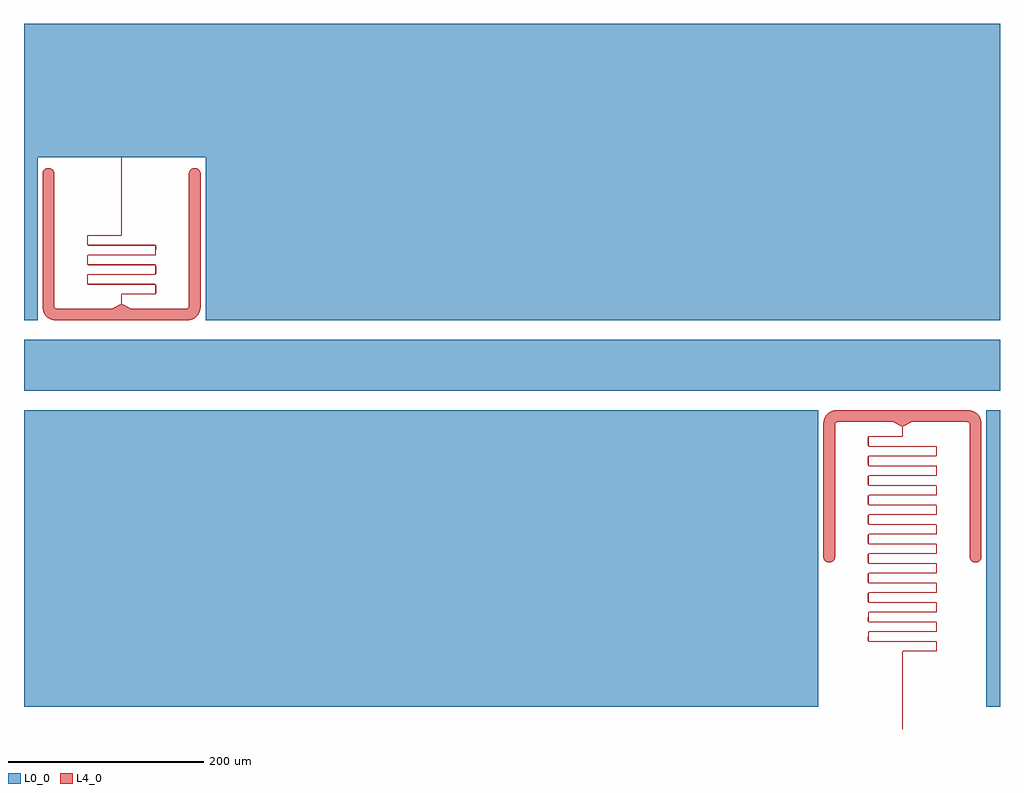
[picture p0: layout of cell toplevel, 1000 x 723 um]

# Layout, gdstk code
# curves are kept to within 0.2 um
import gdstk
lib = gdstk.Library(unit=1e-6, precision=1e-09)
def R(c, l, rs):  # rectangles x0, y0, x1, y1
    for r in rs: c.add(gdstk.rectangle(r[:2], r[2:], *l))
def P(c, l, *ps):  # polygons
    for p in ps: c.add(gdstk.Polygon(p, *l))
L0_0 = (0, 0)
L4_0 = (4, 0)

toplevel = lib.new_cell('toplevel')
R(toplevel, L0_0, [(-500,-350,314,-46), (486,-350,500,-46), (-500,-26,500,26)])
P(toplevel, L0_0, [(500,350),(-500,350),(-500,46),(-486,46),(-486,213),(-314,213),(-314,46),(500,46)])
P(toplevel, L4_0, [(-399.698,72.067),(-399.354,72.659),(-365.224,72.871),(-364.701,73.992),(-364.703,82.106),(-365.082,83.029),(-366.052,83.3),(-434.227,83.315),(-434.698,83.928),(-434.566,92.536),(-365.668,92.724),(-364.981,93.07),(-364.707,93.822),(-364.702,102.071),(-364.976,102.924),(-366.041,103.3),(-434.01,103.301),(-434.57,103.468),(-434.7,104.122),(-434.696,112.109),(-434.227,112.685),(-366.008,112.7),(-365.205,112.883),(-364.776,113.44),(-364.711,122.226),(-364.997,122.948),(-365.674,123.277),(-433.95,123.3),(-434.648,123.612),(-434.698,132.063),(-434.35,132.66),(-400.963,132.701),(-400.224,132.871),(-399.8,133.375),(-399.7,213),(-400.3,213),(-400.359,133.592),(-401.015,133.3),(-434.527,133.234),(-435.071,132.864),(-435.293,132.178),(-435.215,123.414),(-434.782,122.875),(-433.992,122.7),(-365.769,122.685),(-365.303,122.095),(-365.347,113.625),(-366.05,113.3),(-434.307,113.28),(-434.992,112.959),(-435.286,112.257),(-435.241,103.5),(-434.612,102.795),(-434.042,102.701),(-366.07,102.7),(-365.432,102.534),(-365.301,102.005),(-365.419,93.481),(-434.579,93.217),(-435.014,92.936),(-435.298,92.071),(-435.293,83.828),(-435.019,83.07),(-434.332,82.724),(-366.07,82.7),(-365.466,82.568),(-365.301,82.02),(-365.301,73.976),(-365.653,73.339),(-399.769,73.132),(-400.295,72.136),(-400.3,63),(-410,58),(-465.094,58.007),(-467.534,58.243),(-468.557,58.869),(-469,62.709),(-469.023,196.523),(-469.362,198.052),(-470.085,199.441),(-471.143,200.596),(-472.464,201.438),(-473.958,201.909),(-475.523,201.977),(-478.224,201.06),(-480.196,199),(-480.796,197.553),(-481,196),(-480.896,59.675),(-480.412,56.61),(-479.446,53.827),(-478.085,51.518),(-476.273,49.55),(-474.171,48.066),(-471.519,46.908),(-468.546,46.238),(-465.128,46.006),(-334.26,46.019),(-330.778,46.344),(-327.824,47.137),(-325.087,48.519),(-322.899,50.343),(-321.21,52.581),(-320.018,55.153),(-319.27,58.231),(-319.009,61.692),(-319,196),(-319.204,197.553),(-319.94,199.224),(-321.347,200.76),(-322.948,201.638),(-324.738,201.994),(-326.553,201.796),(-328.224,201.06),(-329.596,199.857),(-330.543,198.296),(-330.977,196.523),(-331,62.659),(-331.128,60.074),(-331.544,58.683),(-332.658,58.2),(-335.042,58.005),(-390,58),(-399.7,63)],
  [(399.607,-72.479),(365.224,-72.871),(364.701,-73.992),(364.703,-82.106),(365.082,-83.029),(366.052,-83.3),(434.227,-83.315),(434.698,-83.928),(434.566,-92.536),(365.668,-92.724),(364.981,-93.07),(364.707,-93.822),(364.702,-102.071),(364.976,-102.924),(366.041,-103.3),(434.01,-103.301),(434.57,-103.468),(434.7,-104.122),(434.574,-112.527),(365.991,-112.701),(365.105,-112.952),(364.719,-113.699),(364.713,-122.245),(365.002,-122.953),(365.68,-123.278),(433.965,-123.3),(434.497,-123.404),(434.685,-123.773),(434.577,-132.523),(365.991,-132.701),(365.112,-132.947),(364.721,-133.687),(364.713,-142.245),(365.002,-142.953),(365.68,-143.278),(433.965,-143.3),(434.684,-143.761),(434.577,-152.523),(365.991,-152.701),(365.118,-152.942),(364.725,-153.661),(364.713,-162.245),(365.002,-162.953),(365.68,-163.278),(433.965,-163.3),(434.682,-163.749),(434.577,-172.523),(365.991,-172.701),(365.124,-172.937),(364.728,-173.642),(364.712,-182.238),(365.002,-182.953),(365.68,-183.278),(433.96,-183.3),(434.679,-183.733),(434.696,-192.1),(434.235,-192.684),(365.997,-192.7),(365.136,-192.928),(364.732,-193.617),(364.712,-202.238),(365.002,-202.953),(365.68,-203.278),(433.96,-203.3),(434.675,-203.713),(434.696,-212.1),(434.235,-212.684),(365.997,-212.7),(365.148,-212.92),(364.738,-213.584),(364.712,-222.238),(365.002,-222.953),(365.674,-223.277),(433.96,-223.3),(434.671,-223.694),(434.697,-232.095),(434.235,-232.684),(366.003,-232.7),(365.167,-232.907),(364.747,-233.545),(364.712,-242.232),(364.997,-242.948),(365.674,-243.277),(433.955,-243.3),(434.666,-243.671),(434.697,-252.095),(434.231,-252.685),(366.003,-252.7),(365.18,-252.898),(364.759,-253.5),(364.712,-262.232),(364.997,-262.948),(365.674,-263.277),(433.955,-263.3),(434.658,-263.643),(434.697,-272.095),(434.231,-272.685),(366.008,-272.7),(365.205,-272.883),(364.774,-273.447),(364.711,-282.226),(364.997,-282.948),(365.674,-283.277),(433.95,-283.3),(434.648,-283.612),(434.698,-292.063),(434.35,-292.66),(400.963,-292.701),(400.224,-292.871),(399.8,-293.375),(399.7,-373),(400.3,-373),(400.359,-293.592),(401.015,-293.3),(434.527,-293.234),(435.071,-292.864),(435.293,-292.178),(435.215,-283.414),(434.782,-282.875),(433.992,-282.7),(365.769,-282.685),(365.303,-282.095),(365.346,-273.629),(366.05,-273.3),(434.326,-273.277),(435.003,-272.948),(435.289,-272.226),(435.234,-263.473),(434.808,-262.89),(433.997,-262.7),(365.769,-262.685),(365.303,-262.095),(365.338,-253.657),(366.045,-253.3),(434.326,-253.277),(435.003,-252.948),(435.288,-252.232),(435.248,-243.526),(434.827,-242.903),(433.997,-242.7),(365.765,-242.684),(365.303,-242.095),(365.331,-233.683),(366.045,-233.3),(434.326,-233.277),(435.003,-232.948),(435.288,-232.232),(435.257,-223.565),(434.845,-222.915),(434.003,-222.7),(365.765,-222.684),(365.304,-222.1),(365.326,-213.705),(366.04,-213.3),(434.326,-213.277),(434.998,-212.953),(435.288,-212.238),(435.264,-203.597),(434.858,-202.924),(434.003,-202.7),(365.765,-202.684),(365.304,-202.1),(365.322,-193.725),(366.04,-193.3),(434.32,-193.278),(434.998,-192.953),(435.288,-192.238),(435.27,-183.63),(434.87,-182.933),(434.008,-182.701),(365.765,-182.684),(365.304,-182.1),(365.32,-173.741),(366.035,-173.3),(434.32,-173.278),(434.998,-172.953),(435.287,-172.245),(435.274,-163.655),(434.876,-162.937),(434.008,-162.701),(365.765,-162.684),(365.304,-162.1),(365.318,-153.753),(366.035,-153.3),(434.32,-153.278),(434.998,-152.953),(435.287,-152.245),(435.277,-143.674),(434.882,-142.942),(434.008,-142.701),(365.765,-142.684),(365.304,-142.1),(365.315,-133.769),(365.503,-133.404),(366.035,-133.3),(434.32,-133.278),(434.998,-132.953),(435.287,-132.245),(435.28,-123.693),(434.888,-122.947),(434.008,-122.701),(365.765,-122.684),(365.304,-122.1),(365.314,-113.777),(365.503,-113.404),(366.035,-113.3),(434.313,-113.279),(434.992,-112.959),(435.286,-112.257),(435.241,-103.5),(434.612,-102.795),(434.042,-102.701),(366.07,-102.7),(365.432,-102.534),(365.301,-102.005),(365.302,-93.928),(365.769,-93.315),(434.579,-93.217),(435.014,-92.936),(435.298,-92.071),(435.293,-83.828),(435.019,-83.07),(434.332,-82.724),(366.07,-82.7),(365.466,-82.568),(365.301,-82.02),(365.388,-73.529),(399.769,-73.132),(400.295,-72.136),(400.3,-63),(410,-58),(464.679,-58.002),(467.101,-58.155),(468.403,-58.61),(468.863,-60.014),(468.999,-62.464),(469.006,-196.262),(469.562,-198.536),(470.946,-200.424),(472.948,-201.638),(475.523,-201.977),(477.536,-201.438),(479.424,-200.054),(480.543,-198.296),(480.994,-196.262),(481,-62.679),(480.818,-58.894),(480.218,-55.888),(479.16,-53.244),(477.649,-50.961),(475.642,-49.035),(473.339,-47.632),(470.629,-46.648),(467.325,-46.104),(334.447,-46.014),(331.231,-46.27),(328.318,-46.962),(325.829,-48.066),(323.572,-49.687),(321.684,-51.842),(320.233,-54.575),(319.371,-57.625),(319.019,-61.26),(319,-196),(319.562,-198.536),(320.946,-200.424),(323.196,-201.722),(325.783,-201.949),(327.77,-201.322),(329.424,-200.054),(330.543,-198.296),(330.994,-196.262),(331,-62.659),(331.12,-60.134),(331.507,-58.743),(332.633,-58.205),(335.042,-58.005),(390,-58),(399.7,-63)])

lib.write_gds('toplevel.gds')
